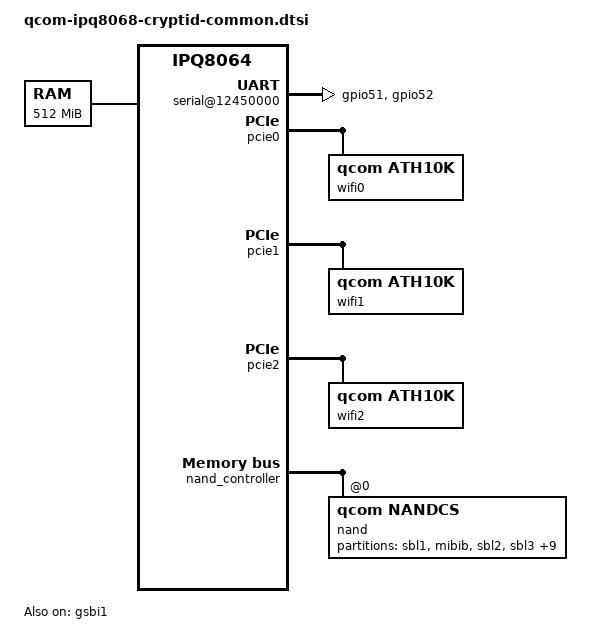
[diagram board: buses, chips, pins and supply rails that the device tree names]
// SPDX-License-Identifier: GPL-2.0 OR MIT

#include "qcom-ipq8064-v2.0.dtsi"

/ {
	memory {
		device_type = "memory";
		linux,usable-memory = <0x41500000 0x1ea00000>;
		reg = <0x40000000 0x20000000>;
	};

	cpus {
		idle-states {
			CPU_SPC: spc {
				status = "disabled";
			};
		};
	};

	chosen {
		bootargs-append = " console=ttyMSM0,115200n8 ubi.mtd=ubi ubi.mtd=art";
	};
};

&qcom_pinmux {
	mdio0_pins_active: mdio0_pins_active {
		mux {
			pins = "gpio0", "gpio1";
			function = "mdio";
			drive-strength = <2>;
			bias-pull-down;
			output-low;
		};

		clk {
			pins = "gpio1";
			input-disable;
		};
	};

	phy_active: phy_active {
		phy {
			pins = "gpio6", "gpio7";
			function = "gpio";
			drive-strength = <2>;
			bias-pull-down;
			output-high;
		};
	};

	uart1_pins: uart1_pins {
		mux {
			pins = "gpio51", "gpio52";
			function = "gsbi1";
			drive-strength = <4>;
			bias-disable;
		};
	};
};

&gsbi1 {
	status = "okay";
	qcom,mode = <GSBI_PROT_UART_W_FC>;

	serial@12450000 {
		status = "okay";

		pinctrl-0 = <&uart1_pins>;
		pinctrl-names = "default";
	};
};

&pcie0 {
	status = "okay";

	/delete-property/ pinctrl-0;
	/delete-property/ pinctrl-names;
	/delete-property/ perst-gpios;

	bridge@0,0 {
		reg = <0x0 0 0 0 0>;
		#address-cells = <3>;
		#size-cells = <2>;
		ranges;

		wifi0: wifi@1,0 {
			compatible = "qcom,ath10k";
			status = "okay";
			reg = <0x10000 0 0 0 0>;
		};
	};
};

&pcie1 {
	status = "okay";

	/delete-property/ pinctrl-0;
	/delete-property/ pinctrl-names;
	/delete-property/ perst-gpios;

	bridge@0,0 {
		reg = <0x0 0 0 0 0>;
		#address-cells = <3>;
		#size-cells = <2>;
		ranges;

		wifi1: wifi@1,0 {
			compatible = "qcom,ath10k";
			status = "okay";
			reg = <0x10000 0 0 0 0>;
		};
	};
};

&pcie2 {
	status = "okay";

	/delete-property/ pinctrl-0;
	/delete-property/ pinctrl-names;
	/delete-property/ perst-gpios;

	bridge@0,0 {
		reg = <0x0 0 0 0 0>;
		#address-cells = <3>;
		#size-cells = <2>;
		ranges;

		wifi2: wifi@1,0 {
			compatible = "qcom,ath10k";
			status = "okay";
			reg = <0x10000 0 0 0 0>;
		};
	};
};

&adm_dma {
	status = "okay";
};

&nand_controller {
	status = "okay";

	pinctrl-0 = <&nand_pins>;
	pinctrl-names = "default";

	nand@0 {
		compatible = "qcom,nandcs";

		reg = <0>;

		nand-ecc-strength = <4>;
		nand-bus-width = <8>;
		nand-ecc-step-size = <512>;

		nand-is-boot-medium;
		qcom,boot_pages_size = <0x2140000>;

		partitions {
			compatible = "fixed-partitions";
			#address-cells = <1>;
			#size-cells = <1>;

			partition@0 {
				label = "sbl1";
				reg = <0x0 0x40000>;
				read-only;
			};

			partition@40000 {
				label = "mibib";
				reg = <0x40000 0x140000>;
				read-only;
			};

			partition@180000 {
				label = "sbl2";
				reg = <0x180000 0x140000>;
				read-only;
			};

			partition@2c0000 {
				label = "sbl3";
				reg = <0x2c0000 0x280000>;
				read-only;
			};

			partition@540000 {
				label = "ddrconfig";
				reg = <0x540000 0x120000>;
				read-only;
			};

			partition@660000 {
				label = "ssd";
				reg = <0x660000 0x120000>;
				read-only;
			};

			partition@780000 {
				label = "tz";
				reg = <0x780000 0x280000>;
				read-only;
			};

			partition@a00000 {
				label = "rpm";
				reg = <0xa00000 0x280000>;
				read-only;
			};

			partition@1fc0000 {
				label = "u-boot";
				reg = <0x1fc0000 0x180000>;
				read-only;
			};

			partition@21c0000 {
				label = "bootkernel1";
				reg = <0x21c0000 0xa80000>;
			};

			partition@2c40000 {
				label = "bootkernel2";
				reg = <0x2c40000 0xa80000>;
			};

			partition@36c0000 {
				label = "ubi";
				reg = <0x36c0000 0x46c0000>;
			};

			partition@7d80000 {
				label = "art";
				reg = <0x7d80000 0x200000>;
				read-only;
			};
		};
	};
};
